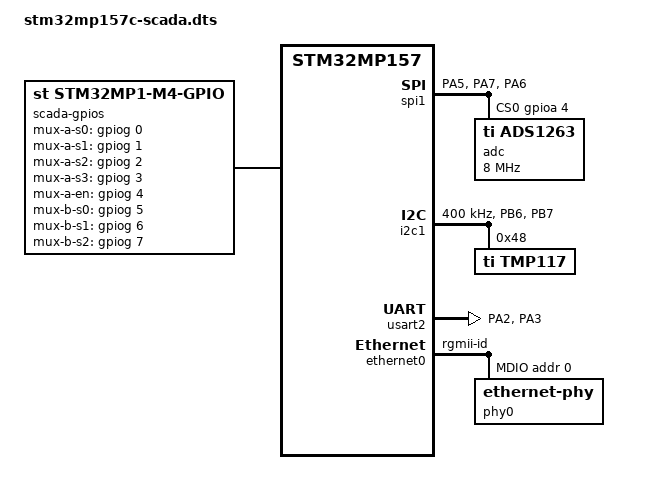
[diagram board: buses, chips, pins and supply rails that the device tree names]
/*
 * stm32mp157c-scada.dts — Device Tree Overlay for SCADA DDS System
 *
 * This overlay configures the STM32MP157C peripherals for the SCADA
 * dual-core (A7+M4) application. It:
 *
 *   1. Reserves memory regions for OpenAMP/RPMsg shared memory
 *   2. Configures the M4 remoteproc node for co-processor management
 *   3. Sets up SPI1 for ADS1263/ADS1258 ADC (M4 ownership via ETZPC)
 *   4. Configures I2C1 for TMP117 temperature sensor (M4 ownership)
 *   5. Sets up USART2 for RS-485 Modbus RTU (M4 ownership)
 *   6. Configures Ethernet for PTP IEEE 1588 timestamping (A7 ownership)
 *   7. Sets GPIO pin assignments for MUX control and status LEDs
 *   8. Configures the IPCC for inter-processor communication
 *
 * Peripheral assignment (ETZPC / RCC secure):
 *   M4 owns: SPI1, I2C1, USART2, TIM2 (timing), GPIOs for MUX/LED
 *   A7 owns: ETH1, USART3 (debug), SD/MMC, USB
 *   Shared:  IPCC, MCUSRAM2 (OpenAMP shared memory)
 *
 * Apply this overlay on top of stm32mp157c-dk2.dts or your custom board DTS.
 */

/dts-v1/;
/plugin/;

/ {
    compatible = "st,stm32mp157c-scada", "st,stm32mp157";

    /* ================================================================
     * Memory Reservations for OpenAMP / RPMsg
     * ================================================================
     *
     * MCUSRAM2 (0x10020000 - 0x1003FFFF, 128KB) is used as shared memory
     * between the A7 and M4 for RPMsg/OpenAMP communication.
     *
     * Layout:
     *   0x10020000 - 0x1002FFFF: VirtIO ring buffers (vring0 + vring1)
     *   0x10030000 - 0x1003FEFF: RPMsg data buffers (64 x 512 bytes)
     *   0x1003FF00 - 0x1003FFFF: PTP sync status shared structure
     */
    fragment@0 {
        target-path = "/";
        __overlay__ {
            reserved-memory {
                #address-cells = <1>;
                #size-cells = <1>;
                ranges;

                /* M4 firmware execution memory (RETRAM + MCUSRAM1) */
                m4_fw_memory: m4-fw@00000000 {
                    compatible = "shared-dma-pool";
                    reg = <0x00000000 0x00030000>; /* 192KB: 48K RETRAM + 128K MCUSRAM1 */
                    no-map;
                };

                /* OpenAMP shared memory (MCUSRAM2) */
                vdev0buffer: vdev0buffer@10020000 {
                    compatible = "shared-dma-pool";
                    reg = <0x10020000 0x00020000>; /* 128KB MCUSRAM2 */
                    no-map;
                };

                /* VirtIO vring0: M4 -> A7 (TX from M4 perspective) */
                vdev0vring0: vdev0vring0@10020000 {
                    reg = <0x10020000 0x00001000>; /* 4KB */
                    no-map;
                };

                /* VirtIO vring1: A7 -> M4 (RX from M4 perspective) */
                vdev0vring1: vdev0vring1@10021000 {
                    reg = <0x10021000 0x00001000>; /* 4KB */
                    no-map;
                };
            };
        };
    };

    /* ================================================================
     * IPCC — Inter-Processor Communication Controller
     * ================================================================
     *
     * The IPCC provides hardware mailbox interrupts between A7 and M4.
     * Used by OpenAMP/RPMsg to signal data availability in shared memory.
     * Channel 0: RPMsg/VirtIO notifications
     * Channel 1: Reserved for future use (e.g., crash dump notification)
     */
    fragment@1 {
        target = <&ipcc>;
        __overlay__ {
            status = "okay";
        };
    };

    /* ================================================================
     * M4 Remoteproc — Co-Processor Management
     * ================================================================
     *
     * The remoteproc subsystem loads firmware onto the M4, manages its
     * lifecycle (start/stop/crash recovery), and creates the RPMsg
     * character device (/dev/ttyRPMSG0) for userspace communication.
     */
    fragment@2 {
        target-path = "/";
        __overlay__ {
            m4_rproc: m4@0 {
                compatible = "st,stm32mp1-m4";
                #address-cells = <1>;
                #size-cells = <1>;
                ranges;

                /* M4 firmware memory regions */
                reg = <0x00000000 0x00030000>,  /* RETRAM + MCUSRAM1 */
                      <0x10020000 0x00020000>;  /* MCUSRAM2 (shared) */
                reg-names = "m4_fw", "vdev0buffer";

                /* Reset and clock control */
                resets = <&rcc MCU_R>;
                reset-names = "mcu_rst";

                /* IPCC for mailbox interrupts */
                mboxes = <&ipcc 0>, <&ipcc 1>;
                mbox-names = "vq0", "vq1";

                /* Firmware filename in /lib/firmware/ */
                st,syscfg-holdboot = <&rcc 0x10C 0x1>;
                st,auto-boot;

                /* Memory regions */
                memory-region = <&vdev0buffer>,
                                <&vdev0vring0>,
                                <&vdev0vring1>,
                                <&m4_fw_memory>;

                /* RPMsg device */
                m4_system_rsc_table: m4-system-rsc-table {
                    compatible = "st,stm32mp1-m4-rsc-table";
                };
            };
        };
    };

    /* ================================================================
     * SPI1 — ADS1263 / ADS1258 ADC Interface (M4 Ownership)
     * ================================================================
     *
     * SPI1 connects to the high-precision ADC:
     *   - Solar variant: ADS1263 (32-bit, voltage/current through MUX)
     *   - Water variant: ADS1258 (24-bit, 8x 4-20mA inputs)
     *
     * Pin mapping:
     *   PA5  = SPI1_SCK   (AF5)
     *   PA6  = SPI1_MISO  (AF5)
     *   PA7  = SPI1_MOSI  (AF5)
     *   PA4  = SPI1_NSS   (GPIO, active low CS)
     *   PB0  = ADC_DRDY   (GPIO input, active low)
     *   PB1  = ADC_RESET  (GPIO output, active low)
     *   PB2  = ADC_START  (GPIO output, ADS1258 only)
     *
     * SPI Mode 1 (CPOL=0, CPHA=1), max clock 8 MHz for ADS1263.
     * Assigned to M4 via ETZPC (secure peripheral access).
     */
    fragment@3 {
        target = <&spi1>;
        __overlay__ {
            pinctrl-names = "default";
            pinctrl-0 = <&spi1_pins_mx>;
            status = "okay";
            /* M4 ownership — Linux should not access this SPI */
            st,stm32mp1-m4-allowed;

            cs-gpios = <&gpioa 4 0>; /* PA4 active low */

            adc@0 {
                compatible = "ti,ads1263";
                reg = <0>;
                spi-max-frequency = <8000000>;
                spi-cpol;
                /* DRDY and RESET managed by M4 firmware GPIO */
            };
        };
    };

    /* ================================================================
     * I2C1 — TMP117 Temperature Sensor (M4 Ownership)
     * ================================================================
     *
     * I2C1 connects to the TMP117 high-accuracy temperature sensor
     * used for ambient/enclosure temperature monitoring.
     *
     * Pin mapping:
     *   PB6 = I2C1_SCL (AF4)
     *   PB7 = I2C1_SDA (AF4)
     *
     * TMP117 I2C address: 0x48 (ADD0 = GND)
     * Clock: 400 kHz (Fast mode)
     */
    fragment@4 {
        target = <&i2c1>;
        __overlay__ {
            pinctrl-names = "default";
            pinctrl-0 = <&i2c1_pins_mx>;
            status = "okay";
            clock-frequency = <400000>;
            st,stm32mp1-m4-allowed;

            tmp117@48 {
                compatible = "ti,tmp117";
                reg = <0x48>;
            };
        };
    };

    /* ================================================================
     * USART2 — RS-485 Modbus RTU (M4 Ownership)
     * ================================================================
     *
     * USART2 provides the RS-485 half-duplex serial interface for
     * Modbus RTU slave communication with legacy field devices.
     *
     * Pin mapping:
     *   PA2 = USART2_TX  (AF7)
     *   PA3 = USART2_RX  (AF7)
     *   PA1 = RS485_DE   (GPIO output, direction enable)
     *
     * Default baud rate: 9600 (configurable via Modbus holding register)
     * Format: 8N1 (8 data bits, no parity, 1 stop bit)
     */
    fragment@5 {
        target = <&usart2>;
        __overlay__ {
            pinctrl-names = "default";
            pinctrl-0 = <&usart2_pins_mx>;
            status = "okay";
            st,stm32mp1-m4-allowed;
        };
    };

    /* ================================================================
     * Ethernet — PTP IEEE 1588 Timestamping (A7 Ownership)
     * ================================================================
     *
     * The STM32MP157 Ethernet MAC supports IEEE 1588v2 hardware
     * timestamping for Precision Time Protocol. The A7 runs ptp4l
     * and phc2sys to synchronize the Linux system clock.
     *
     * PTP timestamp registers are also readable by the M4 core
     * via direct register access for sub-microsecond event timing.
     *
     * Pin mapping (RGMII):
     *   PA1  = ETH_REF_CLK
     *   PA2  = ETH_MDIO
     *   PC1  = ETH_MDC
     *   PA7  = ETH_CRS_DV
     *   PC4  = ETH_RXD0
     *   PC5  = ETH_RXD1
     *   PB11 = ETH_RMII_TX_EN
     *   PB12 = ETH_RMII_TXD0
     *   PB13 = ETH_RMII_TXD1
     */
    fragment@6 {
        target = <&ethernet0>;
        __overlay__ {
            status = "okay";
            pinctrl-names = "default", "sleep";
            pinctrl-0 = <&ethernet0_rgmii_pins_a>;
            pinctrl-1 = <&ethernet0_rgmii_sleep_pins_a>;
            phy-mode = "rgmii-id";
            max-speed = <1000>;

            /* Enable PTP hardware timestamping */
            snps,ptp-ref-clk-sel;

            mdio0 {
                #address-cells = <1>;
                #size-cells = <0>;
                compatible = "snps,dwmac-mdio";

                phy0: ethernet-phy@0 {
                    reg = <0>;
                    /* Enable PTP on the PHY if supported */
                };
            };
        };
    };

    /* ================================================================
     * GPIO Configuration — MUX Control, LEDs, RS-485 DE
     * ================================================================
     *
     * GPIO pins used by the M4 firmware for:
     *   - CD74HC4067 MUX A select (PG0-PG3) + enable (PG4)
     *   - CD74HC4067 MUX B select (PG5-PG8) + enable (PG9)
     *   - Status LEDs (PD12-PD15)
     *   - RS-485 direction enable (PA1)
     *   - ADC control (PB0=DRDY, PB1=RESET, PB2=START)
     *
     * These GPIOs are assigned to M4 via ETZPC.
     */
    fragment@7 {
        target-path = "/";
        __overlay__ {
            scada-gpios {
                compatible = "st,stm32mp1-m4-gpio";

                /* MUX A control pins (solar variant) */
                mux-a-s0-gpios = <&gpiog 0 0>;
                mux-a-s1-gpios = <&gpiog 1 0>;
                mux-a-s2-gpios = <&gpiog 2 0>;
                mux-a-s3-gpios = <&gpiog 3 0>;
                mux-a-en-gpios = <&gpiog 4 0>;

                /* MUX B control pins (solar variant) */
                mux-b-s0-gpios = <&gpiog 5 0>;
                mux-b-s1-gpios = <&gpiog 6 0>;
                mux-b-s2-gpios = <&gpiog 7 0>;
                mux-b-s3-gpios = <&gpiog 8 0>;
                mux-b-en-gpios = <&gpiog 9 0>;

                /* Status LEDs */
                led-heartbeat-gpios = <&gpiod 12 0>;  /* Green */
                led-fault-gpios     = <&gpiod 13 0>;  /* Red */
                led-tx-gpios        = <&gpiod 14 0>;  /* Blue */
                led-link-gpios      = <&gpiod 15 0>;  /* Yellow */

                /* ADC control */
                adc-drdy-gpios  = <&gpiob 0 0>;  /* Input, active low */
                adc-reset-gpios = <&gpiob 1 0>;  /* Output, active low */
                adc-start-gpios = <&gpiob 2 0>;  /* Output (ADS1258) */

                /* RS-485 direction */
                rs485-de-gpios = <&gpioa 1 0>;  /* Output */
            };
        };
    };

    /* ================================================================
     * Pin Multiplexing Definitions
     * ================================================================ */
    fragment@8 {
        target = <&pinctrl>;
        __overlay__ {
            spi1_pins_mx: spi1-0 {
                pins1 {
                    pinmux = <STM32_PINMUX('A', 5, AF5)>,  /* SCK */
                             <STM32_PINMUX('A', 7, AF5)>;   /* MOSI */
                    drive-push-pull;
                    slew-rate = <1>;
                };
                pins2 {
                    pinmux = <STM32_PINMUX('A', 6, AF5)>;   /* MISO */
                    bias-disable;
                };
            };

            i2c1_pins_mx: i2c1-0 {
                pins {
                    pinmux = <STM32_PINMUX('B', 6, AF4)>,  /* SCL */
                             <STM32_PINMUX('B', 7, AF4)>;   /* SDA */
                    bias-disable;
                    drive-open-drain;
                    slew-rate = <0>;
                };
            };

            usart2_pins_mx: usart2-0 {
                pins1 {
                    pinmux = <STM32_PINMUX('A', 2, AF7)>;   /* TX */
                    bias-disable;
                    drive-push-pull;
                    slew-rate = <0>;
                };
                pins2 {
                    pinmux = <STM32_PINMUX('A', 3, AF7)>;   /* RX */
                    bias-disable;
                };
            };
        };
    };
};
